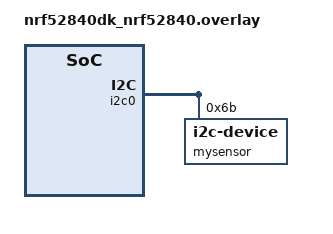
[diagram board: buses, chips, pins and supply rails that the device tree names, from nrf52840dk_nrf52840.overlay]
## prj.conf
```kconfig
#
# Copyright (c) 2019 Nordic Semiconductor ASA
#
# SPDX-License-Identifier: LicenseRef-Nordic-5-Clause
#
CONFIG_NCS_SAMPLES_DEFAULTS=y

CONFIG_BT=y
CONFIG_BT_DEBUG_LOG=y
CONFIG_BT_MAX_CONN=2
CONFIG_BT_MAX_PAIRED=2
CONFIG_BT_SMP=y
CONFIG_BT_L2CAP_TX_BUF_COUNT=5
CONFIG_BT_PERIPHERAL=y
CONFIG_BT_DEVICE_NAME="VR_2_3"
CONFIG_BT_DEVICE_APPEARANCE=962

CONFIG_BT_BAS=y
CONFIG_BT_HIDS=y
CONFIG_BT_HIDS_MAX_CLIENT_COUNT=2
CONFIG_BT_HIDS_DEFAULT_PERM_RW_ENCRYPT=y
CONFIG_BT_GATT_UUID16_POOL_SIZE=40
CONFIG_BT_GATT_CHRC_POOL_SIZE=20

CONFIG_BT_CONN_CTX=y

CONFIG_BT_DIS=y
CONFIG_BT_DIS_PNP=y
CONFIG_BT_DIS_MANUF="NordicSemiconductor"
CONFIG_BT_DIS_PNP_VID_SRC=2
CONFIG_BT_DIS_PNP_VID=0x1915
CONFIG_BT_DIS_PNP_PID=0xEEEE
CONFIG_BT_DIS_PNP_VER=0x0100

CONFIG_MAIN_STACK_SIZE=1536
CONFIG_SYSTEM_WORKQUEUE_STACK_SIZE=2048

CONFIG_BT_SETTINGS=y
CONFIG_FLASH=y
CONFIG_FLASH_PAGE_LAYOUT=y
CONFIG_FLASH_MAP=y
CONFIG_NVS=y
CONFIG_SETTINGS=y

CONFIG_DK_LIBRARY=y

# Additional setting for nRF5340 when building with CONFIG_BT_RPC_STACK=y
CONFIG_NRF_RPC_THREAD_STACK_SIZE=1280

CONFIG_I2C=y
CONFIG_CBPRINTF_FP_SUPPORT=y

#interval and timeout settings (min 6 = 7.5 ms)
CONFIG_BT_PERIPHERAL_PREF_MIN_INT=6
CONFIG_BT_PERIPHERAL_PREF_MAX_INT=6
CONFIG_BT_PERIPHERAL_PREF_LATENCY=0
CONFIG_BT_PERIPHERAL_PREF_TIMEOUT=400
CONFIG_BT_GAP_AUTO_UPDATE_CONN_PARAMS=y
```

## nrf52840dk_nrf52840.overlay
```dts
// To get started, press Ctrl+Space to bring up the completion menu and view the available nodes.

// You can also use the buttons in the sidebar to perform actions on nodes.
// Actions currently available include:

// * Enabling / disabling the node
// * Adding the bus to a bus
// * Removing the node
// * Connecting ADC channels

// For more help, browse the DeviceTree documentation at https://docs.zephyrproject.org/latest/guides/dts/index.html
// You can also visit the nRF DeviceTree extension documentation at https://nrfconnect.github.io/vscode-nrf-connect/devicetree/nrfdevicetree.html
&i2c0 {  
    mysensor: mysensor@6B{
        compatible = "i2c-device";
        status = "okay";
        reg = < 0x6B >;
    };
};
```

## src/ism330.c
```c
#include "ism330.h"
#include <stdlib.h>
//#include "math.h"

int16_t data_raw_acceleration[3];
int16_t data_raw_angular_rate[3];
//static int16_t data_raw_temperature;
float acceleration_mg[3];
float angular_rate_mdps[3];
//static float temperature_degC;
uint8_t whoamI, rst;
//static uint8_t tx_buffer[1000];

gyro_angle ISM_gyro_angle;
stmdev_ctx_t dev_ctx;

int32_t platform_write(void *handle, uint8_t reg, const uint8_t *bufp,
                              uint16_t len)
{
#if defined(NUCLEO_F411RE)
  HAL_I2C_Mem_Write(handle, ISM330DHCX_I2C_ADD_H, reg,
                    I2C_MEMADD_SIZE_8BIT, (uint8_t*) bufp, len, 1000);
#elif defined(STEVAL_MKI109V3)
  HAL_GPIO_WritePin(CS_up_GPIO_Port, CS_up_Pin, GPIO_PIN_RESET);
  HAL_SPI_Transmit(handle, &reg, 1, 1000);
  HAL_SPI_Transmit(handle, (uint8_t*) bufp, len, 1000);
  HAL_GPIO_WritePin(CS_up_GPIO_Port, CS_up_Pin, GPIO_PIN_SET);
#elif defined(SPC584B_DIS)
  i2c_lld_write(handle,  ISM330DHCX_I2C_ADD_H & 0xFE, reg,
               (uint8_t*) bufp, len);
#endif

	uint8_t buffer[16];
	uint8_t i,aux;
	int32_t ret; 

	buffer[0] = reg;

	aux = 1;
	for (i = 0; i < len; i++) {
		buffer[aux] = bufp[i];
		aux++;
	}
	//SPI_transaction(buffer, aux);

	ret = i2c_write_dt(&dev_i2c, buffer, aux);

	return 0;
}

/*
 * @brief  Read generic device register (platform dependent)
 *
 * @param  handle    customizable argument. In this examples is used in
 *                   order to select the correct sensor bus handler.
 * @param  reg       register to read
 * @param  bufp      pointer to buffer that store the data read
 * @param  len       number of consecutive register to read
 *
 */
int32_t platform_read(void *handle, uint8_t reg, uint8_t *bufp,
                             uint16_t len)
{
#if defined(NUCLEO_F411RE)
  HAL_I2C_Mem_Read(handle, ISM330DHCX_I2C_ADD_H, reg,
                   I2C_MEMADD_SIZE_8BIT, bufp, len, 1000);
#elif defined(STEVAL_MKI109V3)
  reg |= 0x80;
  HAL_GPIO_WritePin(CS_up_GPIO_Port, CS_up_Pin, GPIO_PIN_RESET);
  HAL_SPI_Transmit(handle, &reg, 1, 1000);
  HAL_SPI_Receive(handle, bufp, len, 1000);
  HAL_GPIO_WritePin(CS_up_GPIO_Port, CS_up_Pin, GPIO_PIN_SET);
#elif defined(SPC584B_DIS)
  i2c_lld_read(handle, ISM330DHCX_I2C_ADD_H & 0xFE, reg, bufp, len);
#endif

	uint8_t buffer[16];
	uint8_t i,aux;
	uint32_t ret;

	//uint8_t reading[1]= {0};
    uint8_t sensor_regs[1];
	
	sensor_regs[0] = reg;
	ret = i2c_write_read_dt(&dev_i2c,&sensor_regs[0],1,bufp,len);

	return 0;
}

int ISM_Initialize(void)
{
 	
	//printk("I2C Accel Tests\n");

	if (!device_is_ready(dev_i2c.bus)) {
		printk("I2C bus %s is not ready!\n\r",dev_i2c.bus->name);		
    return 0;
	}


	  /* Initialize mems driver interface */
	dev_ctx.write_reg = platform_write;
	dev_ctx.read_reg = platform_read;

	k_msleep(SLEEP_MS);

	/* Check device ID */
	ism330dhcx_device_id_get(&dev_ctx, &whoamI);
	printk("ISM whoiam %x\n", whoamI);

  /* Restore default configuration */
  ism330dhcx_reset_set(&dev_ctx, PROPERTY_ENABLE);
  do {
    ism330dhcx_reset_get(&dev_ctx, &rst);
    printk("ISM resetting dev %x\n", rst);
  } while (rst);

  /* Start device configuration. */
  ism330dhcx_device_conf_set(&dev_ctx, PROPERTY_ENABLE);
  
  /* Enable Block Data Update */
  ism330dhcx_block_data_update_set(&dev_ctx, PROPERTY_ENABLE);

  /* Set Output Data Rate */
  ism330dhcx_xl_data_rate_set(&dev_ctx, ISM330DHCX_XL_ODR_104Hz);
  ism330dhcx_gy_data_rate_set(&dev_ctx, ISM330DHCX_GY_ODR_104Hz);

  /* Set full scale */
  ism330dhcx_xl_full_scale_set(&dev_ctx, ISM330DHCX_2g);
  ism330dhcx_gy_full_scale_set(&dev_ctx, ISM330DHCX_2000dps);

  /* Configure filtering chain(No aux interface)
  *
  * Accelerometer - LPF1 + LPF2 path
  */
  ism330dhcx_xl_hp_path_on_out_set(&dev_ctx, ISM330DHCX_LP_ODR_DIV_100);
  ism330dhcx_xl_filter_lp2_set(&dev_ctx, PROPERTY_ENABLE);

  //ism330dhcx_g
  ism330dhcx_gy_lp1_bandwidth_set(&dev_ctx, ISM330DHCX_MEDIUM);
  ism330dhcx_gy_filter_lp1_set(&dev_ctx, PROPERTY_ENABLE);

}

void printRawAccel(void)
{
  uint8_t reg;

	ism330dhcx_xl_flag_data_ready_get(&dev_ctx, &reg);

	if (reg) {
    // Read acceleration field data
	  memset(data_raw_acceleration, 0x00, 3 * sizeof(int16_t));
	  ism330dhcx_acceleration_raw_get(&dev_ctx, data_raw_acceleration);
	  acceleration_mg[0] = ism330dhcx_from_fs2g_to_mg(data_raw_acceleration[0]);
	  acceleration_mg[1] = ism330dhcx_from_fs2g_to_mg(data_raw_acceleration[1]);
	  acceleration_mg[2] = ism330dhcx_from_fs2g_to_mg(data_raw_acceleration[2]);
	  //sprintf((char *)tx_buffer,"Acceleration [mg]:%4.2f\t%4.2f\t%4.2f\r\n", acceleration_mg[0], acceleration_mg[1], acceleration_mg[2]);
	  printf("Accel [mg]:%4.2f\t%4.2f\t%4.2f\r\n", acceleration_mg[0], acceleration_mg[1], acceleration_mg[2]);
	  //printf("Accel z [mg]:%4.2f\n", (acceleration_mg[2]+119));
  }

}

void printRawAng(void)
{
  uint8_t reg;

  ism330dhcx_gy_flag_data_ready_get(&dev_ctx, &reg);

	if (reg) {
    // Read angular rate field data
		memset(data_raw_angular_rate, 0x00, 3 * sizeof(int16_t));
		ism330dhcx_angular_rate_raw_get(&dev_ctx, data_raw_angular_rate);
		angular_rate_mdps[0] = ism330dhcx_from_fs2000dps_to_mdps(data_raw_angular_rate[0]);
		angular_rate_mdps[1] = ism330dhcx_from_fs2000dps_to_mdps(data_raw_angular_rate[1]);
		angular_rate_mdps[2] = ism330dhcx_from_fs2000dps_to_mdps(data_raw_angular_rate[2]);
		//printf("Angrate [mdps]:%4.2f\t%4.2f\t%4.2f\r\n", angular_rate_mdps[0], angular_rate_mdps[1], angular_rate_mdps[2]);
    //printf("Angrate [mdps]:%6.0f\t%6.0f\t%6.0f\r\n", angular_rate_mdps[0], angular_rate_mdps[1], angular_rate_mdps[2]);
    printf("Angrate [dps]:%3.1f\t%3.1f\t%3.1f\r\n", angular_rate_mdps[0]/1000, angular_rate_mdps[1]/1000, angular_rate_mdps[2]/1000);
  }

}

float_t gyro_fs2000dps_to_dps(int16_t lsb)
{
  //return ((float_t)lsb * 70.0f);
  return ((float_t)lsb * 0.07f);
}

int getRawAngDeg(void)
{
uint8_t reg;
int16_t p,r,y;

  ism330dhcx_gy_flag_data_ready_get(&dev_ctx, &reg);

	if (reg) {
    
		memset(data_raw_angular_rate, 0x00, 3 * sizeof(int16_t));
		ism330dhcx_angular_rate_raw_get(&dev_ctx, data_raw_angular_rate);
		angular_rate_mdps[0] = gyro_fs2000dps_to_dps(data_raw_angular_rate[0]);
		angular_rate_mdps[1] = gyro_fs2000dps_to_dps(data_raw_angular_rate[1]);
		angular_rate_mdps[2] = gyro_fs2000dps_to_dps(data_raw_angular_rate[2]);
		
    
//    printf("Angrate [dps]:%3.1f\t%3.1f\t%3.1f\r\n", angular_rate_mdps[0], angular_rate_mdps[1], angular_rate_mdps[2]);
    
    ISM_gyro_angle.r = angular_rate_mdps[0]; //Y movement mouse
    ISM_gyro_angle.p = angular_rate_mdps[1]; // to scroll wheel
    ISM_gyro_angle.y = angular_rate_mdps[2]; //X movement mouse

    if (abs(ISM_gyro_angle.r) || abs(ISM_gyro_angle.p) || abs(ISM_gyro_angle.y)) {
      printf("Angrate [d]:%d\t%d\t%d\r\n", ISM_gyro_angle.r, ISM_gyro_angle.p, ISM_gyro_angle.y);
      return 1;
    }     
  }
  return 0;
}
```

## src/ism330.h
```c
#ifndef ISM330_H
#define ISM330_H

#include <zephyr/drivers/i2c.h>
#include "ism330dhcx_reg.h"

/* Private variables ---------------------------------------------------------*/
extern int16_t data_raw_acceleration[3];
extern int16_t data_raw_angular_rate[3];
//static int16_t data_raw_temperature;
extern float acceleration_mg[3];
extern float angular_rate_mdps[3];
//static float temperature_degC;
extern uint8_t whoamI, rst;
//static uint8_t tx_buffer[1000];

#define SLEEP_MS 50

#define I2C0_NODE DT_NODELABEL(mysensor)
static const struct i2c_dt_spec dev_i2c = I2C_DT_SPEC_GET(I2C0_NODE);

typedef struct gyro_angle_struct {
    int16_t r;
    int16_t p;
    int16_t y;
} gyro_angle;

extern gyro_angle ISM_gyro_angle;

typedef struct accel_struct {
    int16_t last_accel_y;
    int16_t diff_accel_y;
    int16_t mov_av_buf[4];
} accel;

extern accel ISM_accel;


extern stmdev_ctx_t dev_ctx;

int32_t platform_write(void *handle, uint8_t reg, const uint8_t *bufp, uint16_t len);
int32_t platform_read(void *handle, uint8_t reg, uint8_t *bufp, uint16_t len);

int ISM_Initialize(void);
void printRawAccel(void);
void printRawAng(void);
int getRawAngDeg(void);

//int ISMupdate(void);
float_t gyro_fs2000dps_to_dps(int16_t lsb);
int getRawAccMg(void);


#endif
```
